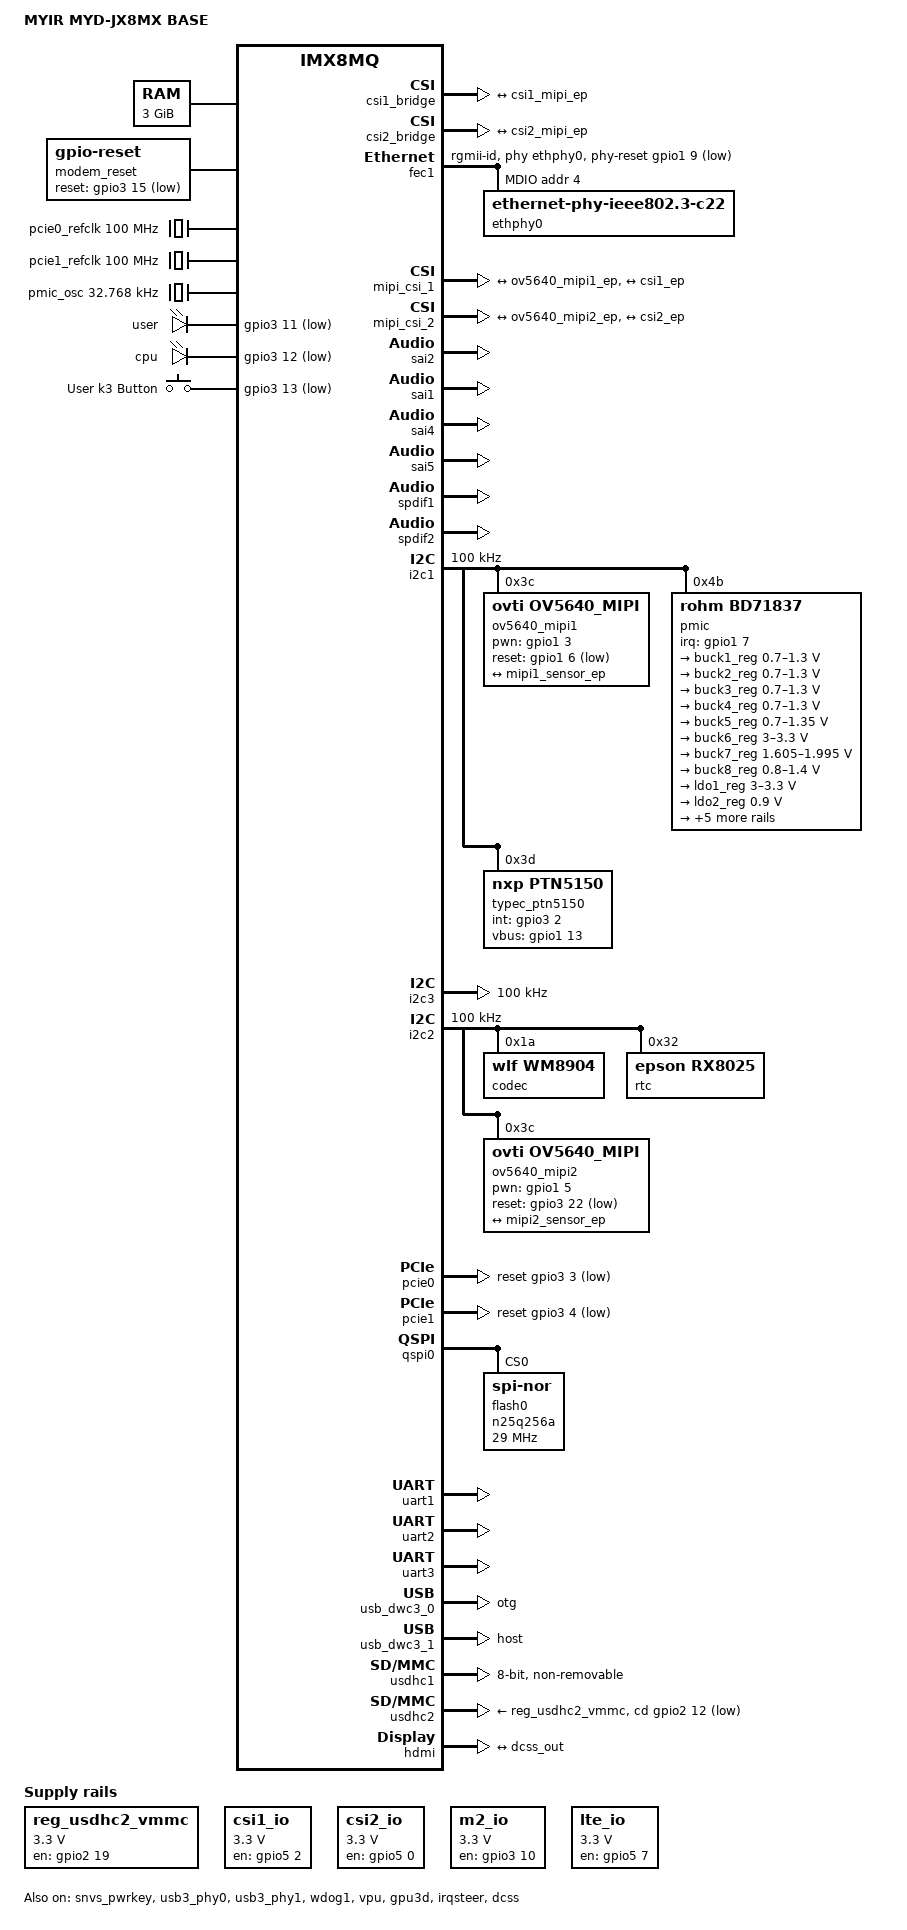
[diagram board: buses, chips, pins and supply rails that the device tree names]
// SPDX-License-Identifier: (GPL-2.0 OR MIT)
/*
 * Copyright 2017 NXP
 * Copyright (C) 2017-2018 Pengutronix, Lucas Stach <kernel@pengutronix.de>
 */

/dts-v1/;

#include <dt-bindings/usb/pd.h>
#include "myd-jx8mx.dtsi"

/ {
	model = "MYIR MYD-JX8MX BASE";
	compatible = "fsl,imx8mq-evk", "fsl,imx8mq";

	chosen {
		stdout-path = &uart1;
	};

	memory@40000000 {
		device_type = "memory";
		reg = <0x00000000 0x40000000 0 0xc0000000>;
	};

	reserved-memory {
		#address-cells = <2>;
		#size-cells = <2>;
		ranges;

		rpmsg_reserved: rpmsg@0xb8000000 {
			no-map;
			reg = <0 0xb8000000 0 0x400000>;
		};
	};

	modem_reset: modem-reset {
		compatible = "gpio-reset";
		reset-gpios = <&gpio3 15 GPIO_ACTIVE_LOW>;
		reset-delay-us = <2000>;
		reset-post-delay-ms = <40>;
		#reset-cells = <0>;
	};

	resmem: reserved-memory {
		#address-cells = <2>;
		#size-cells = <2>;
		ranges;

		/* global autoconfigured region for contiguous allocations */
		linux,cma {
			compatible = "shared-dma-pool";
			reusable;
			size = <0 0x3c000000>;
			alloc-ranges = <0 0x40000000 0 0x40000000>;
			linux,cma-default;
		};
	};

	pcie0_refclk: pcie0-refclk {
		compatible = "fixed-clock";
		#clock-cells = <0>;
		clock-frequency = <100000000>;
	};

	pcie1_refclk: pcie0-refclk {
		compatible = "fixed-clock";
		#clock-cells = <0>;
		clock-frequency = <100000000>;
	};

	pmic_osc: clock-pmic {
		compatible = "fixed-clock";
		#clock-cells = <0>;
		clock-frequency = <32768>;
		clock-output-names = "pmic_osc";
	};

	reg_usdhc2_vmmc: regulator-vsd-3v3 {
		pinctrl-names = "default";
		pinctrl-0 = <&pinctrl_reg_usdhc2>;
		compatible = "regulator-fixed";
		regulator-name = "VSD_3V3";
		regulator-min-microvolt = <3300000>;
		regulator-max-microvolt = <3300000>;
		gpio = <&gpio2 19 GPIO_ACTIVE_HIGH>;
		off-on-delay-us = <20000>;
		enable-active-high;
	};


	csi1_io: csi1-io {
		compatible = "regulator-fixed";
		regulator-name = "csi1_pwr";
		regulator-min-microvolt = <3300000>;
		regulator-max-microvolt = <3300000>;
		gpio = <&gpio5 2 GPIO_ACTIVE_HIGH>;
		enable-active-high;
		regulator-always-on;
	};

	csi2_io: csi2-io {
		compatible = "regulator-fixed";
		regulator-name = "csi2_pwr";
		regulator-min-microvolt = <3300000>;
		regulator-max-microvolt = <3300000>;
		gpio = <&gpio5 0 GPIO_ACTIVE_HIGH>;
		enable-active-high;
		regulator-always-on;
	};

	m2_io: m2-io {
		compatible = "regulator-fixed";
		regulator-name = "m2_pwr";
		regulator-min-microvolt = <3300000>;
		regulator-max-microvolt = <3300000>;
		gpio = <&gpio3 10 GPIO_ACTIVE_HIGH>;
		enable-active-high;
		regulator-always-on;
	};
	
	lte_io: lte-io {
		compatible = "regulator-fixed";
		regulator-name = "lte_pwr";
		regulator-min-microvolt = <3300000>;
		regulator-max-microvolt = <3300000>;
		gpio = <&gpio5 7 GPIO_ACTIVE_HIGH>;
		enable-active-high;
		regulator-always-on;
	};
	
	
	leds {
		compatible = "gpio-leds";
		pinctrl-names = "default";
		pinctrl-0 = <&pinctrl_leds>;

		led0: user {
			label = "user";
			gpios = <&gpio3 11 GPIO_ACTIVE_LOW>;
			default-state = "off";
		};

    led1: cpu {
			label = "cpu";
			gpios = <&gpio3 12 GPIO_ACTIVE_LOW>;
			default-state = "on";
			linux,default-trigger = "heartbeat";
		};
	};
	gpio-keys {
		compatible = "gpio-keys";
		pinctrl-names = "default";
		pinctrl-0 = <&pinctrl_gpio_key>;

		user {
			label = "User k3 Button";
			gpios = <&gpio3 13 GPIO_ACTIVE_LOW>;
			gpio-key,wakeup;
			linux,code = <KEY_1>;
		};
		
  };
  sound {
		compatible = "fsl,imx8mq-evk-wm8904",
			   "fsl,imx-audio-wm8904";
		model = "wm8904-audio";
		cpu-dai = <&sai2>;
		audio-codec = <&codec>;
		asrc-controller ;
		gpr = <&iomuxc_gpr>;
		audio-routing =
			"Headphone Jack", "HPOUTL",
			"Headphone Jack", "HPOUTR",
			"IN2L", "Line In Jack",
			"IN2R", "Line In Jack",
			"Mic Jack", "MICBIAS",
      "IN1L", "Mic Jack";
	};

	sound-hdmi {
		compatible = "fsl,imx8mq-evk-cdnhdmi",
				"fsl,imx-audio-cdnhdmi";
		model = "imx-audio-hdmi";
		audio-cpu = <&sai4>;
		protocol = <1>;
		hdmi-out;
		constraint-rate = <44100>,
				<88200>,
				<176400>,
				<32000>,
				<48000>,
				<96000>,
				<192000>;
	};

	sound-spdif {
		compatible = "fsl,imx-audio-spdif";
		model = "imx-spdif";
		spdif-controller = <&spdif1>;
		spdif-out;
		spdif-in;
	};

	sound-hdmi-arc {
		compatible = "fsl,imx-audio-spdif";
		model = "imx-hdmi-arc";
		spdif-controller = <&spdif2>;
		spdif-in;
	};


};

&A53_0 {
	cpu-supply = <&buck2_reg>;
};

&A53_1 {
	cpu-supply = <&buck2_reg>;
};

&A53_2 {
	cpu-supply = <&buck2_reg>;
};

&A53_3 {
	cpu-supply = <&buck2_reg>;
};

&csi1_bridge {
	fsl,mipi-mode;
	fsl,two-8bit-sensor-mode;
	status = "okay";

	port {
		csi1_ep: endpoint {
			remote-endpoint = <&csi1_mipi_ep>;
		};
	};
};

&csi2_bridge {
	fsl,mipi-mode;
	fsl,two-8bit-sensor-mode;
	status = "okay";

	port {
		csi2_ep: endpoint {
			remote-endpoint = <&csi2_mipi_ep>;
		};
	};
};

&fec1 {
	pinctrl-names = "default";
	pinctrl-0 = <&pinctrl_fec1>;
	phy-mode = "rgmii-id";
	phy-handle = <&ethphy0>;
	fsl,magic-packet;
	status = "okay";

	phy-reset-duration = <20>;
	phy-reset-gpios = <&gpio1 9 GPIO_ACTIVE_LOW>;
	phy-reset-post-delay=<20>;

	mdio {
		#address-cells = <1>;
		#size-cells = <0>;

		ethphy0: ethernet-phy@0 {
			compatible = "ethernet-phy-ieee802.3-c22";
			reg = <4>;
			at803x,eee-disabled;
		};
	};
};

&mipi_csi_1 {
	#address-cells = <1>;
	#size-cells = <0>;
	status = "okay";
	port {
		mipi1_sensor_ep: endpoint@0 {
			remote-endpoint = <&ov5640_mipi1_ep>;
			data-lanes = <1 2>;
			bus-type = <4>;
		};

		csi1_mipi_ep: endpoint@1 {
			remote-endpoint = <&csi1_ep>;
		};
	};
};

&mipi_csi_2 {
	#address-cells = <1>;
	#size-cells = <0>;
	status = "okay";
	port {
		mipi2_sensor_ep: endpoint@0 {
			remote-endpoint = <&ov5640_mipi2_ep>;
			data-lanes = <1 2>;
			bus-type = <4>;
		};

		csi2_mipi_ep: endpoint@1 {
			remote-endpoint = <&csi2_ep>;
		};
	};
};

&sai2 {
	pinctrl-names = "default";
	pinctrl-0 = <&pinctrl_sai2>;
	assigned-clocks = <&clk IMX8MQ_CLK_SAI2>;
	assigned-clock-parents = <&clk IMX8MQ_AUDIO_PLL1_OUT>;
	assigned-clock-rates = <24576000>;
	status = "okay";
};

&sai1 {
	pinctrl-names = "default", "pcm_b2m", "dsd";
	pinctrl-0 = <&pinctrl_sai1_pcm>;
	pinctrl-1 = <&pinctrl_sai1_pcm_b2m>;
	pinctrl-2 = <&pinctrl_sai1_dsd>;
	assigned-clocks = <&clk IMX8MQ_CLK_SAI1>;
	assigned-clock-parents = <&clk IMX8MQ_AUDIO_PLL1_OUT>;
	assigned-clock-rates = <49152000>;
	clocks = <&clk IMX8MQ_CLK_SAI1_IPG>, <&clk IMX8MQ_CLK_DUMMY>,
		<&clk IMX8MQ_CLK_SAI1_ROOT>, <&clk IMX8MQ_CLK_DUMMY>,
		<&clk IMX8MQ_CLK_DUMMY>, <&clk IMX8MQ_AUDIO_PLL1_OUT>,
		<&clk IMX8MQ_AUDIO_PLL2_OUT>;
	clock-names = "bus", "mclk0", "mclk1", "mclk2", "mclk3", "pll8k", "pll11k";
	fsl,sai-multi-lane;
	fsl,dataline,dsd = <0 0xff 0xff 2 0xff 0x11>;
	dmas = <&sdma2 8 25 0>, <&sdma2 9 25 0>;
	status = "okay";
};

&sai4 {
	assigned-clocks = <&clk IMX8MQ_CLK_SAI4>;
	assigned-clock-parents = <&clk IMX8MQ_AUDIO_PLL1_OUT>;
	assigned-clock-rates = <24576000>;
	clocks = <&clk IMX8MQ_CLK_SAI4_IPG>, <&clk IMX8MQ_CLK_DUMMY>,
		<&clk IMX8MQ_CLK_SAI4_ROOT>, <&clk IMX8MQ_CLK_DUMMY>,
		<&clk IMX8MQ_CLK_DUMMY>, <&clk IMX8MQ_AUDIO_PLL1_OUT>,
		<&clk IMX8MQ_AUDIO_PLL2_OUT>;
	clock-names = "bus", "mclk0", "mclk1", "mclk2", "mclk3", "pll8k", "pll11k";
	status = "okay";
};

&sai5 {
	pinctrl-names = "default";
	pinctrl-0 = <&pinctrl_sai5>;
	assigned-clocks = <&clk IMX8MQ_CLK_SAI5>;
	assigned-clock-parents = <&clk IMX8MQ_AUDIO_PLL1_OUT>;
	assigned-clock-rates = <49152000>;
	clocks = <&clk IMX8MQ_CLK_SAI5_IPG>, <&clk IMX8MQ_CLK_DUMMY>,
		<&clk IMX8MQ_CLK_SAI5_ROOT>, <&clk IMX8MQ_CLK_DUMMY>,
		<&clk IMX8MQ_CLK_DUMMY>, <&clk IMX8MQ_AUDIO_PLL1_OUT>,
		<&clk IMX8MQ_AUDIO_PLL2_OUT>;
	clock-names = "bus", "mclk0", "mclk1", "mclk2", "mclk3", "pll8k", "pll11k";
	fsl,sai-asynchronous;
	status = "okay";
};

&spdif1 {
	pinctrl-names = "default";
	pinctrl-0 = <&pinctrl_spdif1>;
	assigned-clocks = <&clk IMX8MQ_CLK_SPDIF1>;
	assigned-clock-parents = <&clk IMX8MQ_AUDIO_PLL1_OUT>;
	assigned-clock-rates = <24576000>;
	clocks = <&clk IMX8MQ_CLK_IPG_ROOT>, <&clk IMX8MQ_CLK_25M>,
		<&clk IMX8MQ_CLK_SPDIF1>, <&clk IMX8MQ_CLK_DUMMY>,
		<&clk IMX8MQ_CLK_DUMMY>, <&clk IMX8MQ_CLK_DUMMY>,
		<&clk IMX8MQ_CLK_IPG_ROOT>, <&clk IMX8MQ_CLK_DUMMY>,
		<&clk IMX8MQ_CLK_DUMMY>, <&clk IMX8MQ_CLK_DUMMY>,
		<&clk IMX8MQ_AUDIO_PLL1_OUT>, <&clk IMX8MQ_AUDIO_PLL2_OUT>;
	clock-names = "core", "rxtx0", "rxtx1", "rxtx2", "rxtx3", "rxtx4",
		      "rxtx5", "rxtx6", "rxtx7", "spba", "pll8k", "pll11k";
	status = "okay";
};

&spdif2 {
	assigned-clocks = <&clk IMX8MQ_CLK_SPDIF2>;
	assigned-clock-parents = <&clk IMX8MQ_AUDIO_PLL1_OUT>;
	assigned-clock-rates = <24576000>;
	status = "okay";
};


&gpio5 {
	pinctrl-names = "default";
	
};

&i2c1 {
	clock-frequency = <100000>;
	pinctrl-names = "default";
	pinctrl-0 = <&pinctrl_i2c1>;
	status = "okay";

	ov5640_mipi1: ov5640_mipi1@3c {
		compatible = "ovti,ov5640_mipi";
		reg = <0x3c>;
		status = "okay";
		pinctrl-names = "default";
		pinctrl-0 = <&pinctrl_csi1_pwn>, <&pinctrl_csi1_rst>,<&pinctrl_io1_pwn>;
		clocks = <&clk IMX8MQ_CLK_CLKO2>;
		clock-names = "csi_mclk";
		assigned-clocks = <&clk IMX8MQ_CLK_CLKO2>;
		assigned-clock-parents = <&clk IMX8MQ_SYS2_PLL_200M>;
		assigned-clock-rates = <20000000>;
		csi_id = <0>;
		pwn-gpios = <&gpio1 3 GPIO_ACTIVE_HIGH>;
		reset-gpios = <&gpio1 6 GPIO_ACTIVE_LOW>;
		mclk = <20000000>;
		mclk_source = <0>;
		port {
			ov5640_mipi1_ep: endpoint {
				remote-endpoint = <&mipi1_sensor_ep>;
			};
		};
	};

	pmic: pmic@4b {
		reg = <0x4b>;
		compatible = "rohm,bd71837";
		pinctrl-names = "default";
		pinctrl-0 = <&pinctrl_pmic>;
		clocks = <&pmic_osc>;
		clock-names = "osc";
		clock-output-names = "pmic_clk";
		interrupt-parent = <&gpio1>;
		interrupts = <7 GPIO_ACTIVE_LOW>;
		interrupt-names = "irq";

		regulators {
			buck1_reg: BUCK1 {
				regulator-name = "buck1";
				regulator-min-microvolt = <700000>;
				regulator-max-microvolt = <1300000>;
				regulator-boot-on;
				regulator-ramp-delay = <1250>;
				rohm,dvs-run-voltage = <900000>;
				rohm,dvs-idle-voltage = <850000>;
				rohm,dvs-suspend-voltage = <800000>;
			};

			buck2_reg: BUCK2 {
				regulator-name = "buck2";
				regulator-min-microvolt = <700000>;
				regulator-max-microvolt = <1300000>;
				regulator-boot-on;
				regulator-ramp-delay = <1250>;
				rohm,dvs-run-voltage = <1000000>;
				rohm,dvs-idle-voltage = <900000>;
			};

			buck3_reg: BUCK3 {
				regulator-name = "buck3";
				regulator-min-microvolt = <700000>;
				regulator-max-microvolt = <1300000>;
				regulator-boot-on;
				rohm,dvs-run-voltage = <1000000>;
			};

			buck4_reg: BUCK4 {
				regulator-name = "buck4";
				regulator-min-microvolt = <700000>;
				regulator-max-microvolt = <1300000>;
				regulator-boot-on;
				rohm,dvs-run-voltage = <1000000>;
			};

			buck5_reg: BUCK5 {
				regulator-name = "buck5";
				regulator-min-microvolt = <700000>;
				regulator-max-microvolt = <1350000>;
				regulator-boot-on;
			};

			buck6_reg: BUCK6 {
				regulator-name = "buck6";
				regulator-min-microvolt = <3000000>;
				regulator-max-microvolt = <3300000>;
				regulator-boot-on;
			};

			buck7_reg: BUCK7 {
				regulator-name = "buck7";
				regulator-min-microvolt = <1605000>;
				regulator-max-microvolt = <1995000>;
				regulator-boot-on;
			};

			buck8_reg: BUCK8 {
				regulator-name = "buck8";
				regulator-min-microvolt = <800000>;
				regulator-max-microvolt = <1400000>;
				regulator-boot-on;
			};

			ldo1_reg: LDO1 {
				regulator-name = "ldo1";
				regulator-min-microvolt = <3000000>;
				regulator-max-microvolt = <3300000>;
				regulator-boot-on;
				regulator-always-on;
			};

			ldo2_reg: LDO2 {
				regulator-name = "ldo2";
				regulator-min-microvolt = <900000>;
				regulator-max-microvolt = <900000>;
				regulator-boot-on;
				regulator-always-on;
			};

			ldo3_reg: LDO3 {
				regulator-name = "ldo3";
				regulator-min-microvolt = <1800000>;
				regulator-max-microvolt = <3300000>;
				regulator-boot-on;
			};

			ldo4_reg: LDO4 {
				regulator-name = "ldo4";
				regulator-min-microvolt = <900000>;
				regulator-max-microvolt = <1800000>;
				regulator-boot-on;
			};

			ldo5_reg: LDO5 {
				regulator-name = "ldo5";
				regulator-min-microvolt = <1800000>;
				regulator-max-microvolt = <3300000>;
				regulator-boot-on;
			};

			ldo6_reg: LDO6 {
				regulator-name = "ldo6";
				regulator-min-microvolt = <900000>;
				regulator-max-microvolt = <1800000>;
				regulator-boot-on;
			};

			ldo7_reg: LDO7 {
				regulator-name = "ldo7";
				regulator-min-microvolt = <1800000>;
				regulator-max-microvolt = <3300000>;
				regulator-boot-on;
			};
		};
	};
	typec_ptn5150: typec@3d {
		compatible = "nxp,ptn5150";
		pinctrl-names = "default";
		pinctrl-0 = <&pinctrl_ptn5150>;
		reg = <0x3d>;
		int-gpios = <&gpio3 2 GPIO_ACTIVE_HIGH>;
		vbus-gpios = <&gpio1 13 GPIO_ACTIVE_HIGH>;
	};
};

&i2c3 {
	clock-frequency = <100000>;
	pinctrl-names = "default";
	pinctrl-0 = <&pinctrl_i2c3>;
	status = "okay";

	


};

&i2c2 {
	clock-frequency = <100000>;
	pinctrl-names = "default";
	pinctrl-0 = <&pinctrl_i2c2>;
	status = "okay";


	codec: wm8904@1a {
		compatible = "wlf,wm8904";
		reg = <0x1a>;
		clocks = <&clk IMX8MQ_CLK_SAI2>;
		clock-names = "mclk";
		wlf,shared-lrclk;
	};
	
	rtc: rtc@32 {
		compatible = "epson,rx8025";
		reg = <0x32>;
	};
		


	ov5640_mipi2: ov5640_mipi2@3c {
		compatible = "ovti,ov5640_mipi";
		reg = <0x3c>;
		status = "okay";
		pinctrl-names = "default";
		pinctrl-0 = <&pinctrl_csi2_pwn>, <&pinctrl_csi2_rst>,<&pinctrl_io2_pwn>;
		clocks = <&clk IMX8MQ_CLK_CLKO2>;
		clock-names = "csi_mclk";
		assigned-clocks = <&clk IMX8MQ_CLK_CLKO2>;
		assigned-clock-parents = <&clk IMX8MQ_SYS2_PLL_200M>;
		assigned-clock-rates = <20000000>;
		csi_id = <1>;
		pwn-gpios = <&gpio1 5 GPIO_ACTIVE_HIGH>;
		reset-gpios = <&gpio3 22 GPIO_ACTIVE_LOW>;
		mclk = <20000000>;
		mclk_source = <0>;
		port {
			ov5640_mipi2_ep: endpoint {
				remote-endpoint = <&mipi2_sensor_ep>;
			};
		};
	};
};

&pcie0 {
	pinctrl-names = "default";
	pinctrl-0 = <&pinctrl_pcie0>;
	disable-gpio = <&gpio1 14 GPIO_ACTIVE_LOW>;
	reset-gpio = <&gpio3 3 GPIO_ACTIVE_LOW>;
	clocks = <&clk IMX8MQ_CLK_PCIE1_ROOT>,
		 <&clk IMX8MQ_CLK_PCIE1_AUX>,
		 <&clk IMX8MQ_CLK_PCIE1_PHY>,
		 <&pcie0_refclk>;
	clock-names = "pcie", "pcie_aux", "pcie_phy", "pcie_bus";
	hard-wired = <1>;
	status = "okay";
};

&pcie1 {
	pinctrl-names = "default";
	pinctrl-0 = <&pinctrl_pcie1>;
	disable-gpio = <&gpio3 17 GPIO_ACTIVE_LOW>;
	reset-gpio = <&gpio3 4 GPIO_ACTIVE_LOW>;
	clocks = <&clk IMX8MQ_CLK_PCIE2_ROOT>,
		 <&clk IMX8MQ_CLK_PCIE2_AUX>,
		 <&clk IMX8MQ_CLK_PCIE2_PHY>,
		 <&pcie1_refclk>;
	clock-names = "pcie", "pcie_aux", "pcie_phy", "pcie_bus";
	reserved-region = <&rpmsg_reserved>;
	status = "okay";
};

&pgc_gpu {
	power-supply = <&buck3_reg>;
};

&pgc_vpu {
	power-supply = <&buck4_reg>;
};

&snvs_pwrkey {
	status = "okay";
};

&qspi0 {
	pinctrl-names = "default";
	pinctrl-0 = <&pinctrl_qspi>;
	status = "okay";

	flash0: n25q256a@0 {
		reg = <0>;
		#address-cells = <1>;
		#size-cells = <1>;
		compatible = "jedec,spi-nor";
		spi-max-frequency = <29000000>;
		spi-tx-bus-width = <4>;
		spi-rx-bus-width = <4>;
		spi-nor,ddr-quad-read-dummy = <6>;
	};
};

&uart1 {
	pinctrl-names = "default";
	pinctrl-0 = <&pinctrl_uart1>;
	assigned-clocks = <&clk IMX8MQ_CLK_UART1>;
	assigned-clock-parents = <&clk IMX8MQ_CLK_25M>;
	status = "okay";
};
&uart2 {
	pinctrl-names = "default";
	pinctrl-0 = <&pinctrl_uart2>;
	assigned-clocks = <&clk IMX8MQ_CLK_UART1>;
	assigned-clock-parents = <&clk IMX8MQ_CLK_25M>;
	status = "okay";
};
&uart3 { /* BT */
	pinctrl-names = "default";
	pinctrl-0 = <&pinctrl_uart3>;
	assigned-clocks = <&clk IMX8MQ_CLK_UART3>;
	assigned-clock-parents = <&clk IMX8MQ_SYS1_PLL_80M>;
	fsl,uart-has-rtscts;
	resets = <&modem_reset>;
	status = "okay";
};

&usb3_phy0 {
	status = "okay";
};

&usb_dwc3_0 {
	dr_mode = "otg";
	hnp-disable;
	srp-disable;
	adp-disable;
	extcon = <&typec_ptn5150>;
	status = "okay";


};

&usb3_phy1 {
	status = "okay";
};

&usb_dwc3_1 {
	dr_mode = "host";
	status = "okay";
};

&usdhc1 {
	pinctrl-names = "default", "state_100mhz", "state_200mhz";
	pinctrl-0 = <&pinctrl_usdhc1>;
	pinctrl-1 = <&pinctrl_usdhc1_100mhz>;
	pinctrl-2 = <&pinctrl_usdhc1_200mhz>;
	bus-width = <8>;
	non-removable;
	no-sd;
	no-sdio;
	status = "okay";
};

&usdhc2 {
	pinctrl-names = "default", "state_100mhz", "state_200mhz";
	pinctrl-0 = <&pinctrl_usdhc2>;
	pinctrl-1 = <&pinctrl_usdhc2_100mhz>;
	pinctrl-2 = <&pinctrl_usdhc2_200mhz>;
	cd-gpios = <&gpio2 12 GPIO_ACTIVE_LOW>;
	vmmc-supply = <&reg_usdhc2_vmmc>;
	status = "okay";
};

&wdog1 {
	pinctrl-names = "default";
	pinctrl-0 = <&pinctrl_wdog>;
	fsl,ext-reset-output;
	status = "okay";
};

&snvs_rtc{
	status = "disabled";
};

&iomuxc {
	pinctrl-names = "default";
	pinctrl-0 = <&pinctrl_hog>;

	pinctrl_hog: hoggrp {
		fsl,pins = <			
			MX8MQ_IOMUXC_NAND_WP_B_GPIO3_IO18		0x19   /* 4G_WAKE_IN*/
			MX8MQ_IOMUXC_NAND_DATA04_GPIO3_IO10 0x19   /* ME_EN*/
			MX8MQ_IOMUXC_ECSPI1_MOSI_GPIO5_IO7 0x19    /* LTE_PWR_EN*/
			
		>;
	};

	pinctrl_csi1_pwn: csi1_pwn_grp {
		fsl,pins = <
			MX8MQ_IOMUXC_GPIO1_IO03_GPIO1_IO3		0x19
		>;
	};

	pinctrl_csi1_rst: csi_rst1_grp {
		fsl,pins = <
			MX8MQ_IOMUXC_GPIO1_IO06_GPIO1_IO6		0x19
		>;
	};
	pinctrl_io1_pwn:csi_io1_grp{
		fsl,pins = <
			MX8MQ_IOMUXC_SAI3_MCLK_GPIO5_IO2		0x19
		>;
	};
	
	
	pinctrl_csi2_pwn: csi2_pwn_grp {
		fsl,pins = <
			MX8MQ_IOMUXC_GPIO1_IO05_GPIO1_IO5		0x19
		>;
	};

	pinctrl_csi2_rst: csi_rst2_grp {
		fsl,pins = <
			MX8MQ_IOMUXC_SAI5_RXD1_GPIO3_IO22		0x19
		>;
	};
	pinctrl_io2_pwn:csi_io2_grp{
		fsl,pins = <
			MX8MQ_IOMUXC_SAI3_TXC_GPIO5_IO0		0x19
		>;
	};
	
	pinctrl_fec1: fec1grp {
		fsl,pins = <
			MX8MQ_IOMUXC_ENET_MDC_ENET1_MDC			0x3
			MX8MQ_IOMUXC_ENET_MDIO_ENET1_MDIO		0x23
			MX8MQ_IOMUXC_ENET_TD3_ENET1_RGMII_TD3		0x1f
			MX8MQ_IOMUXC_ENET_TD2_ENET1_RGMII_TD2		0x1f
			MX8MQ_IOMUXC_ENET_TD1_ENET1_RGMII_TD1		0x1f
			MX8MQ_IOMUXC_ENET_TD0_ENET1_RGMII_TD0		0x1f
			MX8MQ_IOMUXC_ENET_RD3_ENET1_RGMII_RD3		0x91
			MX8MQ_IOMUXC_ENET_RD2_ENET1_RGMII_RD2		0x91
			MX8MQ_IOMUXC_ENET_RD1_ENET1_RGMII_RD1		0x91
			MX8MQ_IOMUXC_ENET_RD0_ENET1_RGMII_RD0		0x91
			MX8MQ_IOMUXC_ENET_TXC_ENET1_RGMII_TXC		0x1f
			MX8MQ_IOMUXC_ENET_RXC_ENET1_RGMII_RXC		0x91
			MX8MQ_IOMUXC_ENET_RX_CTL_ENET1_RGMII_RX_CTL	0x91
			MX8MQ_IOMUXC_ENET_TX_CTL_ENET1_RGMII_TX_CTL	0x1f
			MX8MQ_IOMUXC_GPIO1_IO09_GPIO1_IO9		0x19
		>;
	};

	pinctrl_i2c1: i2c1grp {
		fsl,pins = <
			MX8MQ_IOMUXC_I2C1_SCL_I2C1_SCL			0x4000007f
			MX8MQ_IOMUXC_I2C1_SDA_I2C1_SDA			0x4000007f
		>;
	};

	pinctrl_i2c3: i2c3grp {
		fsl,pins = <
			MX8MQ_IOMUXC_I2C3_SCL_I2C3_SCL			0x4000007f
			MX8MQ_IOMUXC_I2C3_SDA_I2C3_SDA			0x4000007f
		>;
	};



	pinctrl_i2c2: i2c2grp {
		fsl,pins = <
			MX8MQ_IOMUXC_I2C2_SCL_I2C2_SCL			0x40000067
			MX8MQ_IOMUXC_I2C2_SDA_I2C2_SDA			0x40000067
		>;
	};

	pinctrl_pcie0: pcie0grp {
		fsl,pins = <
			MX8MQ_IOMUXC_I2C4_SCL_PCIE1_CLKREQ_B		0x76
			MX8MQ_IOMUXC_GPIO1_IO14_GPIO1_IO14	0x16
			MX8MQ_IOMUXC_NAND_CE2_B_GPIO3_IO3		0x16
		>;
	};

	pinctrl_pcie1: pcie1grp {
		fsl,pins = <
			MX8MQ_IOMUXC_I2C4_SDA_PCIE2_CLKREQ_B		0x76 /* open drain, pull up */
			MX8MQ_IOMUXC_NAND_CE3_B_GPIO3_IO4		0x16
			MX8MQ_IOMUXC_NAND_WE_B_GPIO3_IO17 0x16 		/* PCIE_nWAKE */
		>;
	};

	pinctrl_qspi: qspigrp {
		fsl,pins = <
			MX8MQ_IOMUXC_NAND_ALE_QSPI_A_SCLK	0x82
			MX8MQ_IOMUXC_NAND_CE0_B_QSPI_A_SS0_B	0x82
			MX8MQ_IOMUXC_NAND_DATA00_QSPI_A_DATA0	0x82
			MX8MQ_IOMUXC_NAND_DATA01_QSPI_A_DATA1	0x82
			MX8MQ_IOMUXC_NAND_DATA02_QSPI_A_DATA2	0x82
			MX8MQ_IOMUXC_NAND_DATA03_QSPI_A_DATA3	0x82

		>;
	};

	pinctrl_reg_usdhc2: regusdhc2grpgpio {
		fsl,pins = <
			MX8MQ_IOMUXC_SD2_RESET_B_GPIO2_IO19		0x41
		>;
	};

	pinctrl_sai2: sai2grp {
		fsl,pins = <
			MX8MQ_IOMUXC_SAI2_TXFS_SAI2_TX_SYNC     0xd6
			MX8MQ_IOMUXC_SAI2_TXC_SAI2_TX_BCLK      0xd6
			MX8MQ_IOMUXC_SAI2_MCLK_SAI2_MCLK        0xd6
			MX8MQ_IOMUXC_SAI2_TXD0_SAI2_TX_DATA0    0xd6
			MX8MQ_IOMUXC_SAI2_RXD0_SAI2_RX_DATA0	0xd6
		>;
	};

	pinctrl_sai1_pcm: sai1grp_pcm {
		fsl,pins = <
			MX8MQ_IOMUXC_SAI1_MCLK_SAI1_MCLK		0xd6
			MX8MQ_IOMUXC_SAI1_TXFS_SAI1_TX_SYNC		0xd6
			MX8MQ_IOMUXC_SAI1_RXD7_SAI1_TX_SYNC		0xd6
			MX8MQ_IOMUXC_SAI1_TXC_SAI1_TX_BCLK		0xd6
			MX8MQ_IOMUXC_SAI1_TXD0_SAI1_TX_DATA0		0xd6
			MX8MQ_IOMUXC_SAI1_TXD1_SAI1_TX_DATA1		0xd6
			MX8MQ_IOMUXC_SAI1_TXD2_SAI1_TX_DATA2		0xd6
			MX8MQ_IOMUXC_SAI1_TXD3_SAI1_TX_DATA3		0xd6
			MX8MQ_IOMUXC_SAI1_TXD4_SAI1_TX_DATA4		0xd6
			MX8MQ_IOMUXC_SAI1_TXD5_SAI1_TX_DATA5		0xd6
			MX8MQ_IOMUXC_SAI1_TXD6_SAI1_TX_DATA6		0xd6
			MX8MQ_IOMUXC_SAI1_TXD7_SAI1_TX_DATA7		0xd6
		>;
	};

	pinctrl_sai1_pcm_b2m: sai1grp_pcm_b2m {
		fsl,pins = <
			MX8MQ_IOMUXC_SAI1_MCLK_SAI1_TX_BCLK		0xd6
			MX8MQ_IOMUXC_SAI1_TXFS_SAI1_TX_SYNC		0xd6
			MX8MQ_IOMUXC_SAI1_RXD7_SAI1_TX_SYNC		0xd6
			MX8MQ_IOMUXC_SAI1_TXC_SAI1_TX_BCLK		0xd6
			MX8MQ_IOMUXC_SAI1_TXD0_SAI1_TX_DATA0		0xd6
			MX8MQ_IOMUXC_SAI1_TXD1_SAI1_TX_DATA1		0xd6
			MX8MQ_IOMUXC_SAI1_TXD2_SAI1_TX_DATA2		0xd6
			MX8MQ_IOMUXC_SAI1_TXD3_SAI1_TX_DATA3		0xd6
			MX8MQ_IOMUXC_SAI1_TXD4_SAI1_TX_DATA4		0xd6
			MX8MQ_IOMUXC_SAI1_TXD5_SAI1_TX_DATA5		0xd6
			MX8MQ_IOMUXC_SAI1_TXD6_SAI1_TX_DATA6		0xd6
			MX8MQ_IOMUXC_SAI1_TXD7_SAI1_TX_DATA7		0xd6
		>;
	};

	pinctrl_sai1_dsd: sai1grp_dsd {
		fsl,pins = <
			MX8MQ_IOMUXC_SAI1_MCLK_SAI1_MCLK		0xd6
			MX8MQ_IOMUXC_SAI1_TXFS_SAI1_TX_SYNC		0xd6
			MX8MQ_IOMUXC_SAI1_RXD7_SAI1_TX_DATA4		0xd6
			MX8MQ_IOMUXC_SAI1_TXC_SAI1_TX_BCLK		0xd6
			MX8MQ_IOMUXC_SAI1_TXD0_SAI1_TX_DATA0		0xd6
			MX8MQ_IOMUXC_SAI1_TXD1_SAI1_TX_DATA1		0xd6
			MX8MQ_IOMUXC_SAI1_TXD2_SAI1_TX_DATA2		0xd6
			MX8MQ_IOMUXC_SAI1_TXD3_SAI1_TX_DATA3		0xd6
			MX8MQ_IOMUXC_SAI1_TXD4_SAI1_TX_DATA4		0xd6
			MX8MQ_IOMUXC_SAI1_TXD5_SAI1_TX_DATA5		0xd6
			MX8MQ_IOMUXC_SAI1_TXD6_SAI1_TX_DATA6		0xd6
			MX8MQ_IOMUXC_SAI1_TXD7_SAI1_TX_DATA7		0xd6
		>;
	};

	pinctrl_sai5: sai5grp {
		fsl,pins = <
			MX8MQ_IOMUXC_SAI5_MCLK_SAI5_MCLK	0xd6
			MX8MQ_IOMUXC_SAI5_RXC_SAI5_RX_BCLK	0xd6
			MX8MQ_IOMUXC_SAI5_RXFS_SAI5_RX_SYNC	0xd6
			MX8MQ_IOMUXC_SAI5_RXD0_SAI5_RX_DATA0	0xd6
			MX8MQ_IOMUXC_SAI5_RXD1_SAI5_RX_DATA1    0xd6
			MX8MQ_IOMUXC_SAI5_RXD2_SAI5_RX_DATA2    0xd6
			MX8MQ_IOMUXC_SAI5_RXD3_SAI5_RX_DATA3    0xd6
		>;
	};

	pinctrl_spdif1: spdif1grp {
		fsl,pins = <
			MX8MQ_IOMUXC_SPDIF_TX_SPDIF1_OUT	0xd6
			MX8MQ_IOMUXC_SPDIF_RX_SPDIF1_IN		0xd6
		>;
	};

	pinctrl_ptn5150: ptncgrp {
		fsl,pins = <
			MX8MQ_IOMUXC_GPIO1_IO13_GPIO1_IO13	0x16
			MX8MQ_IOMUXC_NAND_CE1_B_GPIO3_IO2	0x17059
		>;
	};

	pinctrl_uart1: uart1grp {
		fsl,pins = <
			MX8MQ_IOMUXC_UART1_RXD_UART1_DCE_RX		0x49
			MX8MQ_IOMUXC_UART1_TXD_UART1_DCE_TX		0x49
		>;
	};
	pinctrl_uart2: uart2grp {
		fsl,pins = <
			MX8MQ_IOMUXC_UART2_RXD_UART2_DCE_RX		0x49       /* UART2_RXD */
			MX8MQ_IOMUXC_UART2_TXD_UART2_DCE_TX		0x49       /* UART2_TXD */
		>;
	};
	pinctrl_uart3: uart3grp {
		fsl,pins = <
			MX8MQ_IOMUXC_UART3_TXD_UART3_DCE_TX		0x49
			MX8MQ_IOMUXC_UART3_RXD_UART3_DCE_RX		0x49
			MX8MQ_IOMUXC_ECSPI1_MISO_UART3_DCE_CTS_B	0x49
			MX8MQ_IOMUXC_ECSPI1_SS0_UART3_DCE_RTS_B		0x49
			MX8MQ_IOMUXC_NAND_RE_B_GPIO3_IO15			0x19 /*BT_EN*/
			MX8MQ_IOMUXC_GPIO1_IO00_ANAMIX_REF_CLK_32K 0x14
			MX8MQ_IOMUXC_NAND_READY_B_GPIO3_IO16		0x19   /*BT_WAKEUP_HOST*/
		>;
	};

	pinctrl_usdhc1: usdhc1grp {
		fsl,pins = <
			MX8MQ_IOMUXC_SD1_CLK_USDHC1_CLK			0x83
			MX8MQ_IOMUXC_SD1_CMD_USDHC1_CMD			0xc3
			MX8MQ_IOMUXC_SD1_DATA0_USDHC1_DATA0		0xc3
			MX8MQ_IOMUXC_SD1_DATA1_USDHC1_DATA1		0xc3
			MX8MQ_IOMUXC_SD1_DATA2_USDHC1_DATA2		0xc3
			MX8MQ_IOMUXC_SD1_DATA3_USDHC1_DATA3		0xc3
			MX8MQ_IOMUXC_SD1_DATA4_USDHC1_DATA4		0xc3
			MX8MQ_IOMUXC_SD1_DATA5_USDHC1_DATA5		0xc3
			MX8MQ_IOMUXC_SD1_DATA6_USDHC1_DATA6		0xc3
			MX8MQ_IOMUXC_SD1_DATA7_USDHC1_DATA7		0xc3
			MX8MQ_IOMUXC_SD1_STROBE_USDHC1_STROBE		0x83
			MX8MQ_IOMUXC_SD1_RESET_B_USDHC1_RESET_B		0xc1
		>;
	};

	pinctrl_usdhc1_100mhz: usdhc1-100grp {
		fsl,pins = <
			MX8MQ_IOMUXC_SD1_CLK_USDHC1_CLK			0x8d
			MX8MQ_IOMUXC_SD1_CMD_USDHC1_CMD			0xcd
			MX8MQ_IOMUXC_SD1_DATA0_USDHC1_DATA0		0xcd
			MX8MQ_IOMUXC_SD1_DATA1_USDHC1_DATA1		0xcd
			MX8MQ_IOMUXC_SD1_DATA2_USDHC1_DATA2		0xcd
			MX8MQ_IOMUXC_SD1_DATA3_USDHC1_DATA3		0xcd
			MX8MQ_IOMUXC_SD1_DATA4_USDHC1_DATA4		0xcd
			MX8MQ_IOMUXC_SD1_DATA5_USDHC1_DATA5		0xcd
			MX8MQ_IOMUXC_SD1_DATA6_USDHC1_DATA6		0xcd
			MX8MQ_IOMUXC_SD1_DATA7_USDHC1_DATA7		0xcd
			MX8MQ_IOMUXC_SD1_STROBE_USDHC1_STROBE		0x8d
			MX8MQ_IOMUXC_SD1_RESET_B_USDHC1_RESET_B		0xc1
		>;
	};

	pinctrl_usdhc1_200mhz: usdhc1-200grp {
		fsl,pins = <
			MX8MQ_IOMUXC_SD1_CLK_USDHC1_CLK			0x9f
			MX8MQ_IOMUXC_SD1_CMD_USDHC1_CMD			0xdf
			MX8MQ_IOMUXC_SD1_DATA0_USDHC1_DATA0		0xdf
			MX8MQ_IOMUXC_SD1_DATA1_USDHC1_DATA1		0xdf
			MX8MQ_IOMUXC_SD1_DATA2_USDHC1_DATA2		0xdf
			MX8MQ_IOMUXC_SD1_DATA3_USDHC1_DATA3		0xdf
			MX8MQ_IOMUXC_SD1_DATA4_USDHC1_DATA4		0xdf
			MX8MQ_IOMUXC_SD1_DATA5_USDHC1_DATA5		0xdf
			MX8MQ_IOMUXC_SD1_DATA6_USDHC1_DATA6		0xdf
			MX8MQ_IOMUXC_SD1_DATA7_USDHC1_DATA7		0xdf
			MX8MQ_IOMUXC_SD1_STROBE_USDHC1_STROBE		0x9f
			MX8MQ_IOMUXC_SD1_RESET_B_USDHC1_RESET_B		0xc1
		>;
	};

	pinctrl_usdhc2: usdhc2grp {
		fsl,pins = <
			MX8MQ_IOMUXC_SD2_CLK_USDHC2_CLK			0x83
			MX8MQ_IOMUXC_SD2_CMD_USDHC2_CMD			0xc3
			MX8MQ_IOMUXC_SD2_DATA0_USDHC2_DATA0		0xc3
			MX8MQ_IOMUXC_SD2_DATA1_USDHC2_DATA1		0xc3
			MX8MQ_IOMUXC_SD2_DATA2_USDHC2_DATA2		0xc3
			MX8MQ_IOMUXC_SD2_DATA3_USDHC2_DATA3		0xc3
			MX8MQ_IOMUXC_GPIO1_IO04_USDHC2_VSELECT		0xc1
		>;
	};

	pinctrl_usdhc2_100mhz: usdhc2-100grp {
		fsl,pins = <
			MX8MQ_IOMUXC_SD2_CLK_USDHC2_CLK			0x85
			MX8MQ_IOMUXC_SD2_CMD_USDHC2_CMD			0xc5
			MX8MQ_IOMUXC_SD2_DATA0_USDHC2_DATA0		0xc5
			MX8MQ_IOMUXC_SD2_DATA1_USDHC2_DATA1		0xc5
			MX8MQ_IOMUXC_SD2_DATA2_USDHC2_DATA2		0xc5
			MX8MQ_IOMUXC_SD2_DATA3_USDHC2_DATA3		0xc5
			MX8MQ_IOMUXC_GPIO1_IO04_USDHC2_VSELECT		0xc1
		>;
	};

	pinctrl_usdhc2_200mhz: usdhc2-200grp {
		fsl,pins = <
			MX8MQ_IOMUXC_SD2_CLK_USDHC2_CLK			0x87
			MX8MQ_IOMUXC_SD2_CMD_USDHC2_CMD			0xc7
			MX8MQ_IOMUXC_SD2_DATA0_USDHC2_DATA0		0xc7
			MX8MQ_IOMUXC_SD2_DATA1_USDHC2_DATA1		0xc7
			MX8MQ_IOMUXC_SD2_DATA2_USDHC2_DATA2		0xc7
			MX8MQ_IOMUXC_SD2_DATA3_USDHC2_DATA3		0xc7
			MX8MQ_IOMUXC_GPIO1_IO04_USDHC2_VSELECT		0xc1
		>;
	};

	pinctrl_wdog: wdog1grp {
		fsl,pins = <
			MX8MQ_IOMUXC_GPIO1_IO02_WDOG1_WDOG_B		0xc6
		>;
	};

  pinctrl_leds: ledgrp {
			fsl,pins = <
          MX8MQ_IOMUXC_NAND_DATA05_GPIO3_IO11 0x16
          MX8MQ_IOMUXC_NAND_DATA06_GPIO3_IO12 0x16
			>;
	};
	
	pinctrl_gpio_key: keygrp {
			fsl,pins = <
           MX8MQ_IOMUXC_NAND_DATA07_GPIO3_IO13 0x16
			>;
	};
	
	pinctrl_pmic: pmicirq {
		fsl,pins = <
			MX8MQ_IOMUXC_GPIO1_IO07_GPIO1_IO7	0x41 /*0x17059*/
		>;
	};
	
};

&vpu {
	status = "okay";
};

&gpu3d {
	status = "okay";
};

&irqsteer {
	status = "okay";
};

&dcss {
	status = "okay";

	port@0 {
		dcss_out: endpoint {
			  remote-endpoint = <&hdmi_in>;
		};
	};
};

&hdmi {
	compatible = "cdn,imx8mq-hdmi";
	lane-mapping = <0xe4>;
	status = "okay";
	port@1 {
		hdmi_in: endpoint {
			remote-endpoint = <&dcss_out>;
		};
	};
};
